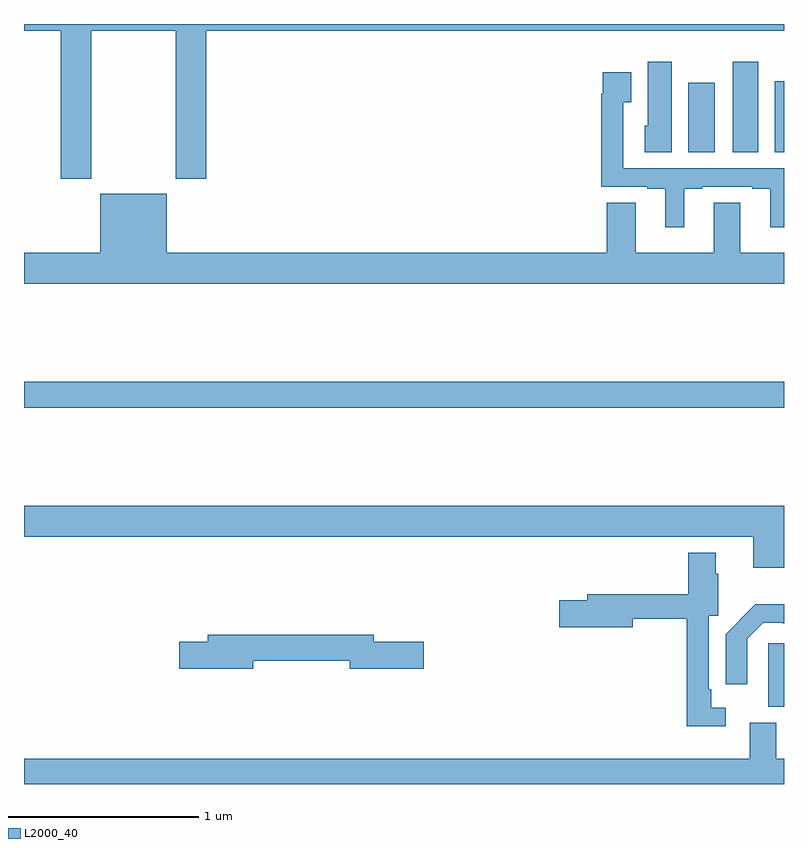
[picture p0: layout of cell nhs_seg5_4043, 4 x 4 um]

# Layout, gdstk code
import gdstk
lib = gdstk.Library(unit=1e-6, precision=1e-09)
def R(c, l, rs):  # rectangles x0, y0, x1, y1
    for r in rs: c.add(gdstk.rectangle(r[:2], r[2:], *l))
def P(c, l, *ps):  # polygons
    for p in ps: c.add(gdstk.Polygon(p, *l))
L2000_40 = (2000, 40)

nhs_seg5_4043 = lib.new_cell('nhs_seg5_4043')
R(nhs_seg5_4043, L2000_40, [(352.916,849.206,353,849.54), (349,850.78,353,850.916), (352.496,852.124,352.636,852.49), (352.73,852.124,352.864,852.601), (352.952,852.124,353,852.499)])
P(nhs_seg5_4043, L2000_40, [(349.353,852.764),(349.798,852.764),(349.798,851.985),(349.958,851.985),(349.958,852.764),(353,852.764),(353,852.799),(349,852.799),(349,852.764),(349.193,852.764),(349.193,851.985),(349.353,851.985)],
  [(352.408,852.601),(352.283,852.601),(352.283,852.264),(352.268,852.264),(352.268,852.124),(352.408,852.124)],
  [(352.474,851.931),(352.57,851.931),(352.57,851.943),(352.832,851.943),(352.832,851.931),(352.928,851.931),(352.928,851.73),(353,851.73),(353,852.039),(352.155,852.039),(352.155,852.388),(352.195,852.388),(352.195,852.544),(352.047,852.544),(352.047,852.431),(352.039,852.431),(352.039,851.943),(352.28,851.943),(352.28,851.931),(352.376,851.931),(352.376,851.73),(352.474,851.73)],
  [(353,851.596),(352.771,851.596),(352.771,851.858),(352.631,851.858),(352.631,851.596),(352.219,851.596),(352.219,851.858),(352.067,851.858),(352.067,851.596),(349.75,851.596),(349.75,851.905),(349.4,851.905),(349.4,851.596),(349,851.596),(349,851.432),(353,851.432)],
  [(353,850.264),(349,850.264),(349,850.1),(352.838,850.1),(352.838,849.936),(353,849.936)],
  [(352.693,849.201),(352.617,849.201),(352.617,849.298),(352.605,849.298),(352.605,849.684),(352.655,849.684),(352.655,849.905),(352.642,849.905),(352.642,850.015),(352.496,850.015),(352.496,849.799),(351.965,849.799),(351.965,849.765),(351.816,849.765),(351.816,849.623),(352.204,849.623),(352.204,849.67),(352.489,849.67),(352.489,849.104),(352.693,849.104)],
  [(352.806,849.564),(352.89,849.648),(352.99,849.648),(352.99,849.644),(353,849.644),(353,849.745),(352.849,849.745),(352.768,849.663),(352.768,849.662),(352.694,849.588),(352.694,849.324),(352.806,849.324)],
  [(350.206,849.448),(350.714,849.448),(350.714,849.406),(351.103,849.406),(351.103,849.548),(350.842,849.548),(350.842,849.584),(349.967,849.584),(349.967,849.548),(349.818,849.548),(349.818,849.406),(350.206,849.406)],
  [(353,848.932),(352.96,848.932),(352.96,849.121),(352.82,849.121),(352.82,848.932),(349,848.932),(349,848.799),(353,848.799)])

lib.write_gds('nhs_seg5_4043.gds')
